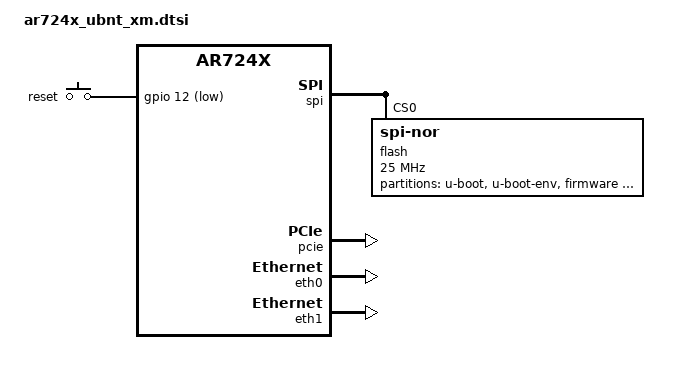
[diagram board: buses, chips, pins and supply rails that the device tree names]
// SPDX-License-Identifier: GPL-2.0-or-later OR MIT

#include <dt-bindings/gpio/gpio.h>
#include <dt-bindings/input/input.h>

/ {
	keys {
		compatible = "gpio-keys";

		reset {
			linux,code = <KEY_RESTART>;
			gpios = <&gpio 12 GPIO_ACTIVE_LOW>;
			debounce-interval = <60>;
		};
	};
};

&spi {
	status = "okay";

	flash@0 {
		compatible = "jedec,spi-nor";
		reg = <0>;
		spi-max-frequency = <25000000>;

		partitions {
			compatible = "fixed-partitions";
			#address-cells = <1>;
			#size-cells = <1>;

			partition@0 {
				label = "u-boot";
				reg = <0x000000 0x040000>;
				read-only;
			};

			partition@40000 {
				label = "u-boot-env";
				reg = <0x040000 0x010000>;
				read-only;
			};

			partition@50000 {
				compatible = "denx,uimage";
				label = "firmware";
				reg = <0x050000 0x750000>;
			};

			partition@7a0000 {
				label = "board_config";
				reg = <0x7a0000 0x010000>;
				read-only;
			};

			partition@7b0000 {
				label = "cfg";
				reg = <0x7b0000 0x040000>;
				read-only;
			};

			art: partition@7f0000 {
				label = "art";
				reg = <0x7f0000 0x010000>;
				read-only;
			};
		};
	};
};

&pcie {
	status = "okay";

	wifi: wifi@0,0 {
		reg = <0x0000 0 0 0 0>;
		qca,no-eeprom;
	};
};

&eth0 {
	status = "okay";

	mtd-mac-address = <&art 0x0>;
};

&eth1 {
	status = "okay";

	mtd-mac-address = <&art 0x6>;
};
